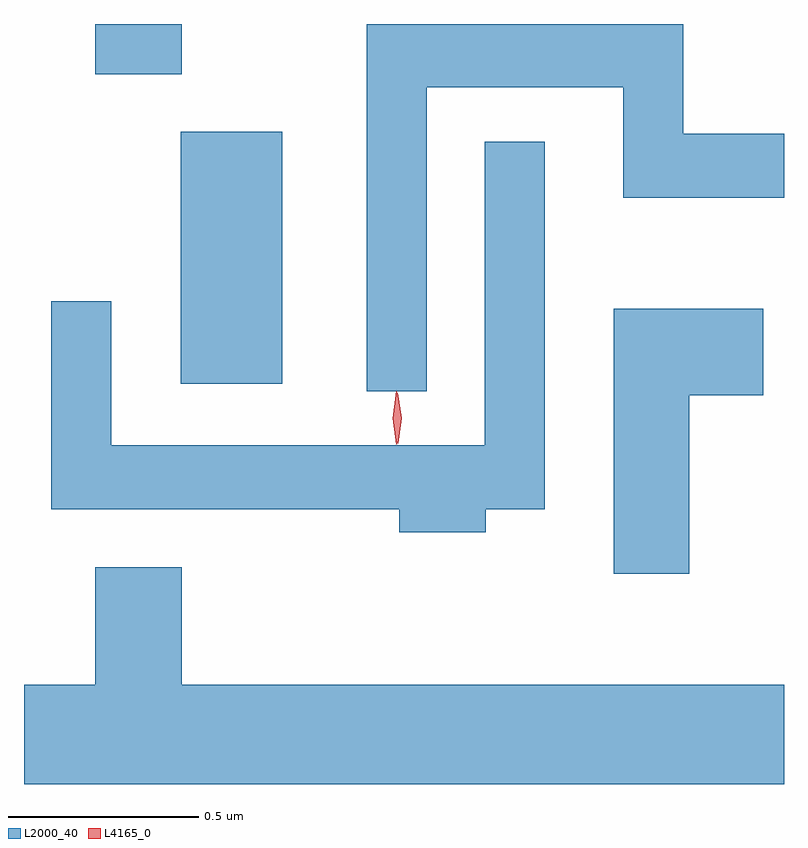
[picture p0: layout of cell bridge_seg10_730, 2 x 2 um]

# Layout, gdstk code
import gdstk
lib = gdstk.Library(unit=1e-6, precision=1e-09)
def R(c, l, rs):  # rectangles x0, y0, x1, y1
    for r in rs: c.add(gdstk.rectangle(r[:2], r[2:], *l))
def P(c, l, *ps):  # polygons
    for p in ps: c.add(gdstk.Polygon(p, *l))
L2000_40 = (2000, 40)
L4165_0 = (4165, 0)

bridge_seg10_730 = lib.new_cell('bridge_seg10_730')
R(bridge_seg10_730, L2000_40, [(964.146,2086.116,964.414,2086.779), (963.921,2086.931,964.149,2087.063)])
P(bridge_seg10_730, L2000_40, [(964.794,2086.896),(965.311,2086.896),(965.311,2086.606),(965.734,2086.606),(965.734,2086.774),(965.469,2086.774),(965.469,2087.063),(964.636,2087.063),(964.636,2086.097),(964.794,2086.097)],
  [(964.949,2085.786),(965.104,2085.786),(965.104,2086.753),(964.946,2086.753),(964.946,2085.954),(963.964,2085.954),(963.964,2086.333),(963.806,2086.333),(963.806,2085.786),(964.721,2085.786),(964.721,2085.726),(964.949,2085.726)],
  [(965.484,2086.086),(965.679,2086.086),(965.679,2086.314),(965.286,2086.314),(965.286,2085.616),(965.484,2085.616)],
  [(965.734,2085.324),(964.149,2085.324),(964.149,2085.634),(963.921,2085.634),(963.921,2085.324),(963.734,2085.324),(963.734,2085.063),(965.734,2085.063)])
P(bridge_seg10_730, L4165_0, [(964.714,2085.957),(964.705,2086.026),(964.714,2086.096),(964.715,2086.096),(964.715,2086.096),(964.725,2086.026),(964.715,2085.957),(964.715,2085.957)],
  [(964.718,2085.959),(964.718,2085.96),(964.708,2086.026),(964.717,2086.092),(964.718,2086.093),(964.718,2086.092),(964.728,2086.026),(964.719,2085.96)])

lib.write_gds('bridge_seg10_730.gds')
